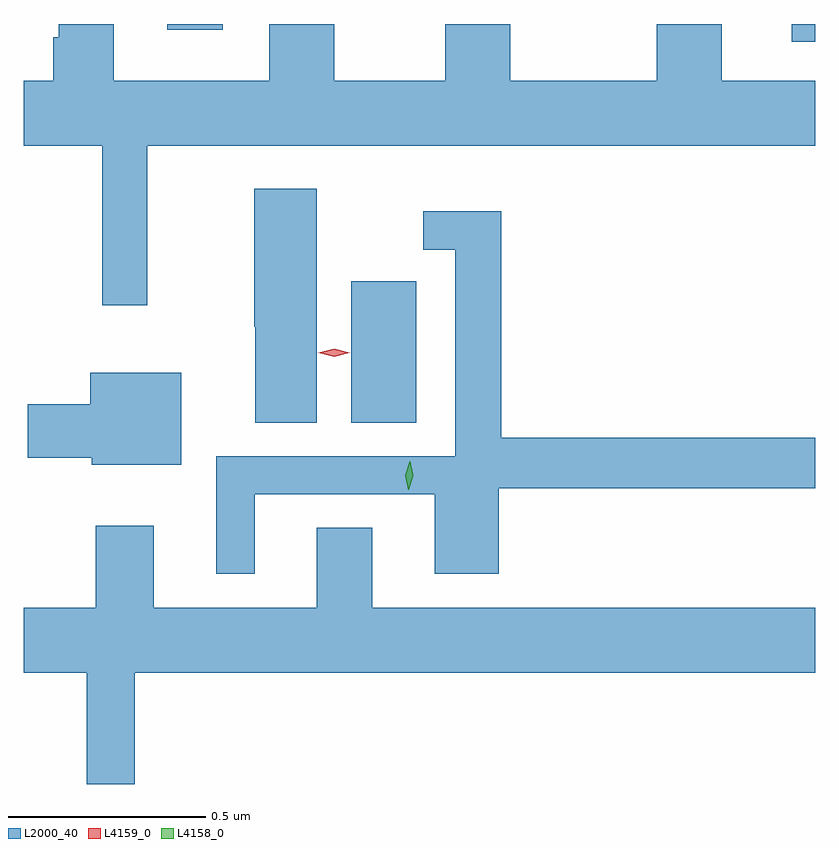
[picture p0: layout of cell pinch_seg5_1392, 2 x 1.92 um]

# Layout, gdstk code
import gdstk
lib = gdstk.Library(unit=1e-6, precision=1e-09)
def R(c, l, rs):  # rectangles x0, y0, x1, y1
    for r in rs: c.add(gdstk.rectangle(r[:2], r[2:], *l))
def P(c, l, *ps):  # polygons
    for p in ps: c.add(gdstk.Polygon(p, *l))
L2000_40 = (2000, 40)
L4158_0 = (4158, 0)
L4159_0 = (4159, 0)

pinch_seg5_1392 = lib.new_cell('pinch_seg5_1392')
R(pinch_seg5_1392, L2000_40, [(257.702,886.696,257.866,887.053), (258.815,887.658,258.874,887.703), (257.237,887.688,257.377,887.703)])
P(pinch_seg5_1392, L2000_40, [(257.186,887.396),(258.874,887.396),(258.874,887.56),(258.637,887.56),(258.637,887.703),(258.473,887.703),(258.473,887.56),(258.103,887.56),(258.103,887.703),(257.939,887.703),(257.939,887.56),(257.659,887.56),(257.659,887.703),(257.495,887.703),(257.495,887.56),(257.101,887.56),(257.101,887.703),(256.962,887.703),(256.962,887.67),(256.949,887.67),(256.949,887.56),(256.874,887.56),(256.874,887.396),(257.073,887.396),(257.073,886.992),(257.186,886.992)],
  [(257.614,887.287),(257.456,887.287),(257.456,886.938),(257.459,886.938),(257.459,886.696),(257.614,886.696)],
  [(257.458,886.515),(257.912,886.515),(257.912,886.314),(258.074,886.314),(258.074,886.53),(258.874,886.53),(258.874,886.658),(258.08,886.658),(258.08,887.23),(257.883,887.23),(257.883,887.133),(257.964,887.133),(257.964,886.611),(257.36,886.611),(257.36,886.314),(257.458,886.314)],
  [(257.272,886.822),(257.042,886.822),(257.042,886.742),(256.884,886.742),(256.884,886.607),(257.046,886.607),(257.046,886.589),(257.272,886.589)],
  [(257.615,886.43),(257.615,886.228),(257.203,886.228),(257.203,886.435),(257.056,886.435),(257.056,886.228),(256.874,886.228),(256.874,886.064),(257.033,886.064),(257.033,885.783),(257.154,885.783),(257.154,886.064),(258.874,886.064),(258.874,886.228),(257.755,886.228),(257.755,886.43)])
P(pinch_seg5_1392, L4158_0, [(257.847,886.526),(257.846,886.527),(257.838,886.563),(257.849,886.599),(257.85,886.599),(257.85,886.599),(257.858,886.562),(257.847,886.527)])
P(pinch_seg5_1392, L4159_0, [(257.658,886.862),(257.618,886.872),(257.618,886.872),(257.618,886.872),(257.658,886.882),(257.698,886.872),(257.698,886.872),(257.698,886.872)])

lib.write_gds('pinch_seg5_1392.gds')
